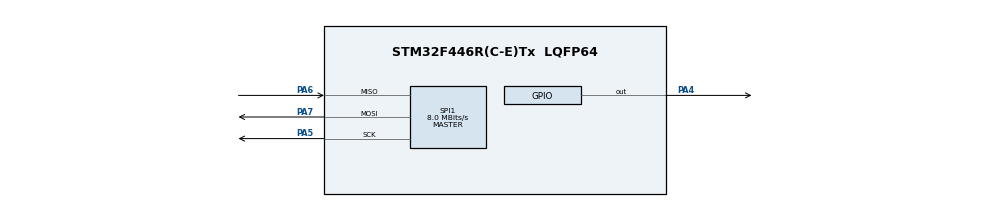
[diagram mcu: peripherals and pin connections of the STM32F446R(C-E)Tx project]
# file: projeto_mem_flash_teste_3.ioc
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Mcu.Family=STM32F4
Mcu.Name=STM32F446R(C-E)Tx
Mcu.Package=LQFP64
NVIC.PriorityGroup=NVIC_PRIORITYGROUP_4
PA4.GPIO_PuPd=GPIO_PULLUP
PA4.Signal=GPIO_Output
PA5.Mode=Full_Duplex_Master
PA5.Signal=SPI1_SCK
PA6.Mode=Full_Duplex_Master
PA6.Signal=SPI1_MISO
PA7.Mode=Full_Duplex_Master
PA7.Signal=SPI1_MOSI
ProjectManager.HeapSize=0x200
ProjectManager.StackSize=0x400
ProjectManager.TargetToolchain=STM32CubeIDE
RCC.CortexFreq_Value=16000000
RCC.USBFreq_Value=96000000
RCC.VCOOutputFreq_Value=192000000
SPI1.CalculateBaudRate=8.0 MBits/s
SPI1.Direction=SPI_DIRECTION_2LINES
SPI1.Mode=SPI_MODE_MASTER
SPI1.VirtualType=VM_MASTER
board=custom

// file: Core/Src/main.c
/* USER CODE BEGIN Header */
/**
  ******************************************************************************
  * @file           : main.c
  * @brief          : Main program body
  ******************************************************************************
  * @attention
  *
  * Copyright (c) 2023 STMicroelectronics.
  * All rights reserved.
  *
  * This software is licensed under terms that can be found in the LICENSE file
  * in the root directory of this software component.
  * If no LICENSE file comes with this software, it is provided AS-IS.
  *
  ******************************************************************************
  */
/* USER CODE END Header */

#include "main.h"
#include "stdint.h"

/* USER CODE BEGIN Includes */
#include "drive_mem_flash.h"

/* USER CODE END Includes */

SPI_HandleTypeDef hspi1;

void SystemClock_Config(void);
static void MX_GPIO_Init(void);
static void MX_SPI1_Init(void);

int main(void)
{

  /* MCU Configuration--------------------------------------------------------*/

  /* Reset of all peripherals, Initializes the Flash interface and the Systick. */
  HAL_Init();

  /* Configure the system clock */
  SystemClock_Config();

  /* Initialize all configured peripherals */
  MX_GPIO_Init();
  MX_SPI1_Init();

  /* USER CODE BEGIN 2 */

  uint8_t receivedsetor0[5];
  uint8_t receivedsetor1[5];

  uint8_t dados1[1] = {0XAB};
  uint8_t dados2[1] = {0XCD};

  mem_hw_t mem = {
  		.hspi = &hspi1,
  		.gpio_port = GPIOA,
  		.gpio_pin = GPIO_PIN_4
  };

  /* USER CODE END 2 */

  /* Infinite loop */
  /* USER CODE BEGIN WHILE */

  while (1)
  {

	  sectorErase(&mem, 0);
	  sectorErase(&mem,1);
	  sectorErase(&mem, 0x1000);

	  pageProgram(&mem, 0, dados1, 1);//AB na primeira palavra do setor 0
	  pageProgram(&mem, 0x1000, dados2, 1);//CD na primeira palavra do setor 1

	  readData(&mem,0,receivedsetor0,5); //verificando
	  readData(&mem,0x1000,receivedsetor1,5);

	  sectorErase(&mem, 1); // apagando o setor do endereço de memoria 1

	  readData(&mem,0,receivedsetor0,5);
	  readData(&mem,0x1000,receivedsetor1,5);

    /* USER CODE END WHILE */

  }
}

void SystemClock_Config(void)
{
  RCC_OscInitTypeDef RCC_OscInitStruct = {0};
  RCC_ClkInitTypeDef RCC_ClkInitStruct = {0};

  /** Configure the main internal regulator output voltage
  */
  __HAL_RCC_PWR_CLK_ENABLE();
  __HAL_PWR_VOLTAGESCALING_CONFIG(PWR_REGULATOR_VOLTAGE_SCALE3);

  /** Initializes the RCC Oscillators according to the specified parameters
  * in the RCC_OscInitTypeDef structure.
  */
  RCC_OscInitStruct.OscillatorType = RCC_OSCILLATORTYPE_HSI;
  RCC_OscInitStruct.HSIState = RCC_HSI_ON;
  RCC_OscInitStruct.HSICalibrationValue = RCC_HSICALIBRATION_DEFAULT;
  RCC_OscInitStruct.PLL.PLLState = RCC_PLL_NONE;
  if (HAL_RCC_OscConfig(&RCC_OscInitStruct) != HAL_OK)
  {
    Error_Handler();
  }

  /** Initializes the CPU, AHB and APB buses clocks
  */
  RCC_ClkInitStruct.ClockType = RCC_CLOCKTYPE_HCLK|RCC_CLOCKTYPE_SYSCLK
                              |RCC_CLOCKTYPE_PCLK1|RCC_CLOCKTYPE_PCLK2;
  RCC_ClkInitStruct.SYSCLKSource = RCC_SYSCLKSOURCE_HSI;
  RCC_ClkInitStruct.AHBCLKDivider = RCC_SYSCLK_DIV1;
  RCC_ClkInitStruct.APB1CLKDivider = RCC_HCLK_DIV1;
  RCC_ClkInitStruct.APB2CLKDivider = RCC_HCLK_DIV1;

  if (HAL_RCC_ClockConfig(&RCC_ClkInitStruct, FLASH_LATENCY_0) != HAL_OK)
  {
    Error_Handler();
  }
}

static void MX_SPI1_Init(void)
{

  /* SPI1 parameter configuration*/
  hspi1.Instance = SPI1;
  hspi1.Init.Mode = SPI_MODE_MASTER;
  hspi1.Init.Direction = SPI_DIRECTION_2LINES;
  hspi1.Init.DataSize = SPI_DATASIZE_8BIT;
  hspi1.Init.CLKPolarity = SPI_POLARITY_LOW;
  hspi1.Init.CLKPhase = SPI_PHASE_1EDGE;
  hspi1.Init.NSS = SPI_NSS_SOFT;
  hspi1.Init.BaudRatePrescaler = SPI_BAUDRATEPRESCALER_2;
  hspi1.Init.FirstBit = SPI_FIRSTBIT_MSB;
  hspi1.Init.TIMode = SPI_TIMODE_DISABLE;
  hspi1.Init.CRCCalculation = SPI_CRCCALCULATION_DISABLE;
  hspi1.Init.CRCPolynomial = 10;
  if (HAL_SPI_Init(&hspi1) != HAL_OK)
  {
    Error_Handler();
  }

}

static void MX_GPIO_Init(void)
{
  GPIO_InitTypeDef GPIO_InitStruct = {0};

  /* GPIO Ports Clock Enable */
  __HAL_RCC_GPIOA_CLK_ENABLE();

  /*Configure GPIO pin Output Level */
  HAL_GPIO_WritePin(GPIOA, GPIO_PIN_4, GPIO_PIN_RESET);

  /*Configure GPIO pin : PA4 */
  GPIO_InitStruct.Pin = GPIO_PIN_4;
  GPIO_InitStruct.Mode = GPIO_MODE_OUTPUT_PP;
  GPIO_InitStruct.Pull = GPIO_PULLUP;
  GPIO_InitStruct.Speed = GPIO_SPEED_FREQ_LOW;
  HAL_GPIO_Init(GPIOA, &GPIO_InitStruct);

}

void Error_Handler(void)
{
  __disable_irq();
  while (1)
  {
  }
}
